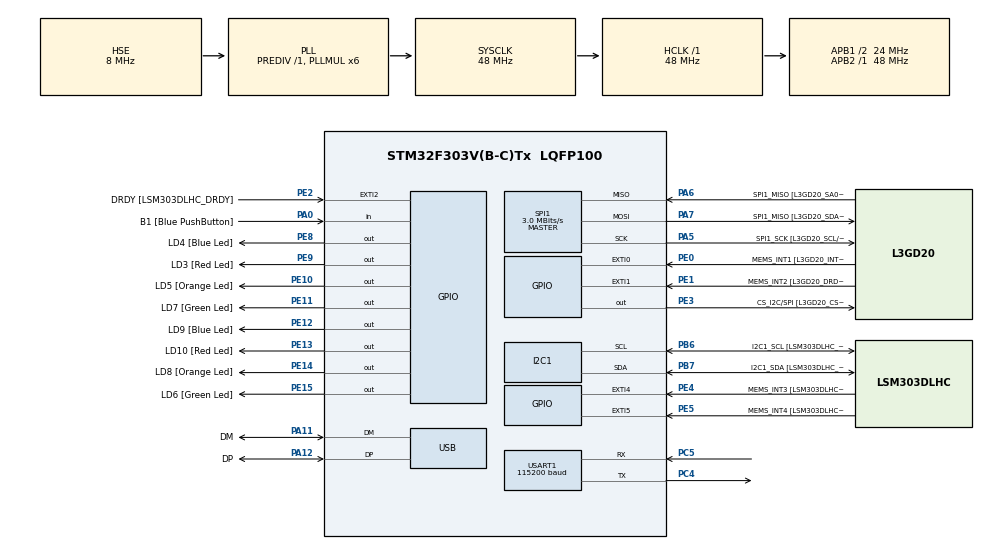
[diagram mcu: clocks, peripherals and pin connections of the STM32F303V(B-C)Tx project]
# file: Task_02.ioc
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I2C1.Timing=0x00201D2B
I2C1.Timing-I2C=0x2000090E
Mcu.Family=STM32F3
Mcu.Name=STM32F303V(B-C)Tx
Mcu.Package=LQFP100
NVIC.PriorityGroup=NVIC_PRIORITYGROUP_0
PA0.GPIO_Label=B1 [Blue PushButton]
PA0.Signal=GPIO_Input
PA11.GPIO_Label=DM
PA11.Mode=Device
PA11.Signal=USB_DM
PA12.GPIO_Label=DP
PA12.Mode=Device
PA12.Signal=USB_DP
PA13.GPIO_Label=SWDIO
PA13.Mode=Serial_Wire
PA13.Signal=SYS_JTMS-SWDIO
PA14.GPIO_Label=SWCLK
PA14.Mode=Serial_Wire
PA14.Signal=SYS_JTCK-SWCLK
PA5.GPIO_Label=SPI1_SCK [L3GD20_SCL/SPC]
PA5.Mode=Full_Duplex_Master
PA5.Signal=SPI1_SCK
PA6.GPIO_Label=SPI1_MISO [L3GD20_SA0/SDO]
PA6.Mode=Full_Duplex_Master
PA6.Signal=SPI1_MISO
PA7.GPIO_Label=SPI1_MISO [L3GD20_SDA/SDI/SDO]
PA7.Mode=Full_Duplex_Master
PA7.Signal=SPI1_MOSI
PB3.GPIO_Label=SWO
PB3.Signal=SYS_JTDO-TRACESWO
PB6.GPIO_Label=I2C1_SCL [LSM303DLHC_SCL]
PB6.GPIO_Pu=GPIO_PULLUP
PB6.Mode=I2C
PB6.Signal=I2C1_SCL
PB7.GPIO_Label=I2C1_SDA [LSM303DLHC_SDA]
PB7.GPIO_Pu=GPIO_PULLUP
PB7.Mode=I2C
PB7.Signal=I2C1_SDA
PC14-OSC32_IN.GPIO_Label=OSC32_IN
PC14-OSC32_IN.Signal=RCC_OSC32_IN
PC15-OSC32_OUT.GPIO_Label=OSC32_OUT
PC15-OSC32_OUT.Signal=RCC_OSC32_OUT
PC4.Mode=Asynchronous
PC4.Signal=USART1_TX
PC5.Mode=Asynchronous
PC5.Signal=USART1_RX
PE0.GPIO_Label=MEMS_INT1 [L3GD20_INT1]
PE0.GPIO_ModeDefaultEXTI=GPIO_MODE_EVT_RISING
PE0.Signal=GPXTI0
PE1.GPIO_Label=MEMS_INT2 [L3GD20_DRDY/INT2]
PE1.GPIO_ModeDefaultEXTI=GPIO_MODE_EVT_RISING
PE1.Signal=GPXTI1
PE10.GPIO_Label=LD5 [Orange Led]
PE10.Signal=GPIO_Output
PE11.GPIO_Label=LD7 [Green Led]
PE11.Signal=GPIO_Output
PE12.GPIO_Label=LD9 [Blue Led]
PE12.Signal=GPIO_Output
PE13.GPIO_Label=LD10 [Red Led]
PE13.Signal=GPIO_Output
PE14.GPIO_Label=LD8 [Orange Led]
PE14.Signal=GPIO_Output
PE15.GPIO_Label=LD6 [Green Led]
PE15.Signal=GPIO_Output
PE2.GPIO_Label=DRDY [LSM303DLHC_DRDY]
PE2.GPIO_ModeDefaultEXTI=GPIO_MODE_EVT_RISING
PE2.Signal=GPXTI2
PE3.GPIO_Label=CS_I2C/SPI [L3GD20_CS_I2C/SPI]
PE3.Signal=GPIO_Output
PE4.GPIO_Label=MEMS_INT3 [LSM303DLHC_INT1]
PE4.GPIO_ModeDefaultEXTI=GPIO_MODE_EVT_RISING
PE4.Signal=GPXTI4
PE5.GPIO_Label=MEMS_INT4 [LSM303DLHC_INT2]
PE5.GPIO_ModeDefaultEXTI=GPIO_MODE_EVT_RISING
PE5.Signal=GPXTI5
PE8.GPIO_Label=LD4 [Blue Led]
PE8.Signal=GPIO_Output
PE9.GPIO_Label=LD3 [Red Led]
PE9.Signal=GPIO_Output
PF0-OSC_IN.GPIO_Label=OSC_IN
PF0-OSC_IN.Mode=HSE-External-Clock-Source
PF0-OSC_IN.Signal=RCC_OSC_IN
PF1-OSC_OUT.GPIO_Label=OSC_OUT
PF1-OSC_OUT.Signal=RCC_OSC_OUT
ProjectManager.HeapSize=0x200
ProjectManager.StackSize=0x400
ProjectManager.TargetToolchain=CMake
RCC.AHBFreq_Value=48000000
RCC.APB1CLKDivider=RCC_HCLK_DIV2
RCC.APB1Freq_Value=24000000
RCC.APB1TimFreq_Value=48000000
RCC.APB2Freq_Value=48000000
RCC.APB2TimFreq_Value=48000000
RCC.CortexFreq_Value=48000000
RCC.HCLKFreq_Value=48000000
RCC.HSE_VALUE=8000000
RCC.HSI_VALUE=8000000
RCC.LSE_VALUE=32768
RCC.PLLMUL=RCC_PLL_MUL6
RCC.SYSCLKFreq_VALUE=48000000
RCC.SYSCLKSourceVirtual=RCC_SYSCLKSOURCE_PLLCLK
RCC.USBFreq_Value=48000000
SPI1.BaudRatePrescaler=SPI_BAUDRATEPRESCALER_16
SPI1.BaudRatePrescaler-Full_Duplex_Master=SPI_BAUDRATEPRESCALER_2
SPI1.CLKPhase=SPI_PHASE_2EDGE
SPI1.CLKPolarity=SPI_POLARITY_HIGH
SPI1.CalculateBaudRate=3.0 MBits/s
SPI1.CalculateBaudRate-Full_Duplex_Master=24.0 MBits/s
SPI1.DataSize=SPI_DATASIZE_8BIT
SPI1.Direction=SPI_DIRECTION_2LINES
SPI1.Mode=SPI_MODE_MASTER
SPI1.Mode-Full_Duplex_Master=SPI_MODE_MASTER
SPI1.VirtualType=VM_MASTER
USART1.BaudRate=115200
USART1.VirtualMode-Asynchronous=VM_ASYNC
board=STM32F3DISCOVERY

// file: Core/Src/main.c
/* USER CODE BEGIN Header */
/**
  ******************************************************************************
  * @file           : main.c
  * @brief          : Lab 9 - Accelerometer (I2C) & Gyroscope (SPI) Integration
  ******************************************************************************
  */
/* USER CODE END Header */

#include "main.h"
#include <stdio.h>

I2C_HandleTypeDef hi2c1;
SPI_HandleTypeDef hspi1;
UART_HandleTypeDef huart1;

/* USER CODE BEGIN PFP */
void SystemClock_Config(void);
static void MX_GPIO_Init(void);
static void MX_I2C1_Init(void);
static void MX_SPI1_Init(void);
static void MX_USART1_UART_Init(void);

// --- 1. LSM Data Structure (As requested by manual) ---
typedef struct {
    int16_t raw_acc_x, raw_acc_y, raw_acc_z;
    int16_t raw_gyro_x, raw_gyro_y, raw_gyro_z;

    float acc_x, acc_y, acc_z;       // in mg
    float gyro_x, gyro_y, gyro_z;    // in dps

    float acc_offset_x, acc_offset_y, acc_offset_z;
    float gyro_offset_x, gyro_offset_y, gyro_offset_z;

    float angle_x, angle_y;          // Calculated from Gyro
} LSM_Data_t;

LSM_Data_t lsm;

#define LOOP_TIME_SEC 0.1f // 100ms loop delay (dt)

void gyro_init(void);
void gyro_set_ctrl_reg4(void);
void reader(uint8_t reg_addr, uint8_t *rx_data);
int16_t read_16bit(uint8_t high_byte, uint8_t low_byte);

void Init_LSM(void);
void Offset_LSM(void);
void Read_LSM(void);
void Print_LSM(void);
/* USER CODE END PFP */

/* USER CODE BEGIN 0 */

void reader(uint8_t reg_addr, uint8_t *rx_data) {
    uint8_t tx_buffer[2] = {reg_addr, 0x00};
    uint8_t rx_buffer[2] = {0x00, 0x00};

    HAL_GPIO_WritePin(GPIOE, GPIO_PIN_3, GPIO_PIN_RESET);
    HAL_SPI_TransmitReceive(&hspi1, tx_buffer, rx_buffer, 2, HAL_MAX_DELAY);
    HAL_GPIO_WritePin(GPIOE, GPIO_PIN_3, GPIO_PIN_SET);

    *rx_data = rx_buffer[1];
}

#define CTRL_REG1 0x20
#define CTRL_REG1_VAL 0b00001111 // PD = 1 (Power on), Xen/Yen/Zen enabled
void gyro_init(void) {
    uint8_t tx[2] = {CTRL_REG1, CTRL_REG1_VAL};
    HAL_GPIO_WritePin(GPIOE, GPIO_PIN_3, GPIO_PIN_RESET);
    HAL_SPI_Transmit(&hspi1, tx, 2, HAL_MAX_DELAY);
    HAL_GPIO_WritePin(GPIOE, GPIO_PIN_3, GPIO_PIN_SET);
}

#define CTRL_REG4 0x23
#define CTRL_REG4_VAL 0b00000000 // FS [1:0] = 00 => +/- 250 dps
void gyro_set_ctrl_reg4(void) {
    uint8_t tx[2] = {CTRL_REG4, CTRL_REG4_VAL};
    HAL_GPIO_WritePin(GPIOE, GPIO_PIN_3, GPIO_PIN_RESET);
    HAL_SPI_Transmit(&hspi1, tx, 2, HAL_MAX_DELAY);
    HAL_GPIO_WritePin(GPIOE, GPIO_PIN_3, GPIO_PIN_SET);
}

int16_t read_16bit(uint8_t high_byte, uint8_t low_byte) {
    return (int16_t)((high_byte << 8) | low_byte);
}

/* ========================================================================= */
/* ACCELEROMETER (I2C) & LAB 9 REQUIRED FUNCTIONS                            */
/* ========================================================================= */

void Init_LSM(void) {
    uint8_t ctrl_reg1 = 0x67; // 100Hz, Normal mode
    uint8_t ctrl_reg4 = 0x00; // Normal Mode

    HAL_I2C_Mem_Write(&hi2c1, 0x32, 0x20, I2C_MEMADD_SIZE_8BIT, &ctrl_reg1, 1, HAL_MAX_DELAY);
    HAL_I2C_Mem_Write(&hi2c1, 0x32, 0x23, I2C_MEMADD_SIZE_8BIT, &ctrl_reg4, 1, HAL_MAX_DELAY);
}

void Offset_LSM(void) {
    float sum_acc_x = 0, sum_acc_y = 0;
    float sum_gyro_x = 0, sum_gyro_y = 0, sum_gyro_z = 0;
    int num_samples = 20;

    uint8_t acc_data[6];
    uint8_t g_xH, g_xL, g_yH, g_yL, g_zH, g_zL;

    for (int i = 0; i < num_samples; i++) {
        // --- Read Accel ---
        HAL_I2C_Mem_Read(&hi2c1, 0x32, 0x28 | 0x80, I2C_MEMADD_SIZE_8BIT, acc_data, 6, HAL_MAX_DELAY);
        int16_t raw_a_x = (int16_t)((acc_data[1] << 8) | acc_data[0]) >> 6;
        int16_t raw_a_y = (int16_t)((acc_data[3] << 8) | acc_data[2]) >> 6;
        sum_acc_x += (raw_a_x * 3.9f);
        sum_acc_y += (raw_a_y * 3.9f);

        // --- Read Gyro ---
        reader(0x80 | 0x29, &g_xH); reader(0x80 | 0x28, &g_xL);
        reader(0x80 | 0x2B, &g_yH); reader(0x80 | 0x2A, &g_yL);
        reader(0x80 | 0x2D, &g_zH); reader(0x80 | 0x2C, &g_zL);
        sum_gyro_x += (read_16bit(g_xH, g_xL) * 0.00875f);
        sum_gyro_y += (read_16bit(g_yH, g_yL) * 0.00875f);
        sum_gyro_z += (read_16bit(g_zH, g_zL) * 0.00875f);

        HAL_Delay(20);
    }

    // Average Offsets
    lsm.acc_offset_x = sum_acc_x / num_samples;
    lsm.acc_offset_y = sum_acc_y / num_samples;
    lsm.acc_offset_z = 0; // Keep Earth's gravity intact

    lsm.gyro_offset_x = sum_gyro_x / num_samples;
    lsm.gyro_offset_y = sum_gyro_y / num_samples;
    lsm.gyro_offset_z = sum_gyro_z / num_samples;
}

void Read_LSM(void) {
    uint8_t acc_data[6];
    uint8_t g_xH, g_xL, g_yH, g_yL, g_zH, g_zL;

    // --- 1. Read & Scale Accelerometer ---
    HAL_I2C_Mem_Read(&hi2c1, 0x32, 0x28 | 0x80, I2C_MEMADD_SIZE_8BIT, acc_data, 6, HAL_MAX_DELAY);
    lsm.raw_acc_x = (int16_t)((acc_data[1] << 8) | acc_data[0]) >> 6;
    lsm.raw_acc_y = (int16_t)((acc_data[3] << 8) | acc_data[2]) >> 6;
    lsm.raw_acc_z = (int16_t)((acc_data[5] << 8) | acc_data[4]) >> 6;

    lsm.acc_x = (lsm.raw_acc_x * 3.9f) - lsm.acc_offset_x;
    lsm.acc_y = (lsm.raw_acc_y * 3.9f) - lsm.acc_offset_y;
    lsm.acc_z = (lsm.raw_acc_z * 3.9f) - lsm.acc_offset_z;

    // --- 2. Read & Scale Gyroscope ---
    reader(0x80 | 0x29, &g_xH); reader(0x80 | 0x28, &g_xL);
    reader(0x80 | 0x2B, &g_yH); reader(0x80 | 0x2A, &g_yL);
    reader(0x80 | 0x2D, &g_zH); reader(0x80 | 0x2C, &g_zL);

    lsm.raw_gyro_x = read_16bit(g_xH, g_xL);
    lsm.raw_gyro_y = read_16bit(g_yH, g_yL);
    lsm.raw_gyro_z = read_16bit(g_zH, g_zL);

    lsm.gyro_x = (lsm.raw_gyro_x * 0.00875f) - lsm.gyro_offset_x;
    lsm.gyro_y = (lsm.raw_gyro_y * 0.00875f) - lsm.gyro_offset_y;
    lsm.gyro_z = (lsm.raw_gyro_z * 0.00875f) - lsm.gyro_offset_z;

    // --- 3. Integrate Gyro for Angle ---
    // Angle = Previous_Angle + (Velocity * dt)
    lsm.angle_x += (lsm.gyro_x * LOOP_TIME_SEC);
    lsm.angle_y += (lsm.gyro_y * LOOP_TIME_SEC);
}

void Print_LSM(void) {
    char msg[150]; // Increased buffer size to hold the longer string

    // 1. Accelerometer (mg)
    int ax = (int)lsm.acc_x;
    int ay = (int)lsm.acc_y;
    int az = (int)lsm.acc_z;

    // 2. Gyroscope (dps)
    int gx = (int)lsm.gyro_x;
    int gy = (int)lsm.gyro_y;
    int gz = (int)lsm.gyro_z;

    // 3. Angles (degrees)
    int ang_x = (int)lsm.angle_x;
    int ang_y = (int)lsm.angle_y;

    // Format all values into a single string
    int len = sprintf(msg, "Acc:%d,%d,%d | Gyr:%d,%d,%d | Ang:%d,%d\r\n",
                      ax, ay, az, gx, gy, gz, ang_x, ang_y);

    HAL_UART_Transmit(&huart1, (uint8_t*)msg, len, HAL_MAX_DELAY);
}
/* USER CODE END 0 */

int main(void)
{
  HAL_Init();
  SystemClock_Config();
  MX_GPIO_Init();
  MX_I2C1_Init();
  MX_SPI1_Init();
  MX_USART1_UART_Init();

  /* USER CODE BEGIN 2 */

  // 1. Initialize BOTH sensors
  Init_LSM();           // I2C Accel
  gyro_init();          // SPI Gyro
  gyro_set_ctrl_reg4(); // SPI Gyro Range
  HAL_Delay(100);

  // 2. Calibrate BOTH sensors (Keep the board completely flat and still!)
  char calib_msg[] = "Calibrating... DO NOT MOVE!\r\n";
  HAL_UART_Transmit(&huart1, (uint8_t*)calib_msg, sizeof(calib_msg)-1, HAL_MAX_DELAY);

  lsm.angle_x = 0; // Reset angle
  lsm.angle_y = 0;
  Offset_LSM();

  char start_msg[] = "Calibration Done! Starting Output:\r\n";
  HAL_UART_Transmit(&huart1, (uint8_t*)start_msg, sizeof(start_msg)-1, HAL_MAX_DELAY);

  /* USER CODE END 2 */

  /* Infinite loop */
  while (1)
  {
    /* USER CODE BEGIN 3 */

    Read_LSM();
    Print_LSM();

    // Must match LOOP_TIME_SEC (0.1s = 100ms) for the math to be accurate!
    HAL_Delay(1000);

    /* USER CODE END 3 */
  }
}

/* ------------------------------------------------------------------------- */
/* System Clock and Peripheral Initialization Functions Below                */
/* (Keep these identical to your previous code)                              */
/* ------------------------------------------------------------------------- */
void SystemClock_Config(void)
{
  RCC_OscInitTypeDef RCC_OscInitStruct = {0};
  RCC_ClkInitTypeDef RCC_ClkInitStruct = {0};
  RCC_PeriphCLKInitTypeDef PeriphClkInit = {0};

  RCC_OscInitStruct.OscillatorType = RCC_OSCILLATORTYPE_HSI|RCC_OSCILLATORTYPE_HSE;
  RCC_OscInitStruct.HSEState = RCC_HSE_BYPASS;
  RCC_OscInitStruct.HSEPredivValue = RCC_HSE_PREDIV_DIV1;
  RCC_OscInitStruct.HSIState = RCC_HSI_ON;
  RCC_OscInitStruct.PLL.PLLState = RCC_PLL_ON;
  RCC_OscInitStruct.PLL.PLLSource = RCC_PLLSOURCE_HSE;
  RCC_OscInitStruct.PLL.PLLMUL = RCC_PLL_MUL6;
  if (HAL_RCC_OscConfig(&RCC_OscInitStruct) != HAL_OK) { Error_Handler(); }

  RCC_ClkInitStruct.ClockType = RCC_CLOCKTYPE_HCLK|RCC_CLOCKTYPE_SYSCLK|RCC_CLOCKTYPE_PCLK1|RCC_CLOCKTYPE_PCLK2;
  RCC_ClkInitStruct.SYSCLKSource = RCC_SYSCLKSOURCE_PLLCLK;
  RCC_ClkInitStruct.AHBCLKDivider = RCC_SYSCLK_DIV1;
  RCC_ClkInitStruct.APB1CLKDivider = RCC_HCLK_DIV2;
  RCC_ClkInitStruct.APB2CLKDivider = RCC_HCLK_DIV1;
  if (HAL_RCC_ClockConfig(&RCC_ClkInitStruct, FLASH_LATENCY_1) != HAL_OK) { Error_Handler(); }

  PeriphClkInit.PeriphClockSelection = RCC_PERIPHCLK_USART1|RCC_PERIPHCLK_I2C1;
  PeriphClkInit.Usart1ClockSelection = RCC_USART1CLKSOURCE_PCLK2;
  PeriphClkInit.I2c1ClockSelection = RCC_I2C1CLKSOURCE_HSI;
  if (HAL_RCCEx_PeriphCLKConfig(&PeriphClkInit) != HAL_OK) { Error_Handler(); }
}

static void MX_I2C1_Init(void) {
  hi2c1.Instance = I2C1;
  hi2c1.Init.Timing = 0x00201D2B;
  hi2c1.Init.OwnAddress1 = 0;
  hi2c1.Init.AddressingMode = I2C_ADDRESSINGMODE_7BIT;
  hi2c1.Init.DualAddressMode = I2C_DUALADDRESS_DISABLE;
  hi2c1.Init.OwnAddress2 = 0;
  hi2c1.Init.OwnAddress2Masks = I2C_OA2_NOMASK;
  hi2c1.Init.GeneralCallMode = I2C_GENERALCALL_DISABLE;
  hi2c1.Init.NoStretchMode = I2C_NOSTRETCH_DISABLE;
  if (HAL_I2C_Init(&hi2c1) != HAL_OK) { Error_Handler(); }
}

static void MX_SPI1_Init(void) {
  hspi1.Instance = SPI1;
  hspi1.Init.Mode = SPI_MODE_MASTER;
  hspi1.Init.Direction = SPI_DIRECTION_2LINES;

  // FIX: Must be 8-BIT for the Gyroscope!
  hspi1.Init.DataSize = SPI_DATASIZE_8BIT;

  hspi1.Init.CLKPolarity = SPI_POLARITY_LOW;
  hspi1.Init.CLKPhase = SPI_PHASE_1EDGE;
  hspi1.Init.NSS = SPI_NSS_SOFT;
  hspi1.Init.BaudRatePrescaler = SPI_BAUDRATEPRESCALER_16; // Safer speed
  hspi1.Init.FirstBit = SPI_FIRSTBIT_MSB;
  hspi1.Init.TIMode = SPI_TIMODE_DISABLE;
  hspi1.Init.CRCCalculation = SPI_CRCCALCULATION_DISABLE;
  hspi1.Init.CRCPolynomial = 7;
  hspi1.Init.CRCLength = SPI_CRC_LENGTH_DATASIZE;
  hspi1.Init.NSSPMode = SPI_NSS_PULSE_ENABLE;
  if (HAL_SPI_Init(&hspi1) != HAL_OK) { Error_Handler(); }
}

static void MX_USART1_UART_Init(void) {
  huart1.Instance = USART1;
  huart1.Init.BaudRate = 115200;
  huart1.Init.WordLength = UART_WORDLENGTH_8B;
  huart1.Init.StopBits = UART_STOPBITS_1;
  huart1.Init.Parity = UART_PARITY_NONE;
  huart1.Init.Mode = UART_MODE_TX_RX;
  huart1.Init.HwFlowCtl = UART_HWCONTROL_NONE;
  huart1.Init.OverSampling = UART_OVERSAMPLING_16;
  huart1.Init.OneBitSampling = UART_ONE_BIT_SAMPLE_DISABLE;
  huart1.AdvancedInit.AdvFeatureInit = UART_ADVFEATURE_NO_INIT;
  if (HAL_UART_Init(&huart1) != HAL_OK) { Error_Handler(); }
}

static void MX_GPIO_Init(void) {
  GPIO_InitTypeDef GPIO_InitStruct = {0};
  __HAL_RCC_GPIOE_CLK_ENABLE();
  __HAL_RCC_GPIOC_CLK_ENABLE();
  __HAL_RCC_GPIOA_CLK_ENABLE();
  __HAL_RCC_GPIOB_CLK_ENABLE();

  HAL_GPIO_WritePin(GPIOE, CS_I2C_SPI_Pin|LD4_Pin|LD3_Pin|LD5_Pin|LD7_Pin|LD9_Pin|LD10_Pin|LD8_Pin|LD6_Pin, GPIO_PIN_RESET);

  GPIO_InitStruct.Pin = DRDY_Pin|MEMS_INT3_Pin|MEMS_INT4_Pin|MEMS_INT1_Pin|MEMS_INT2_Pin;
  GPIO_InitStruct.Mode = GPIO_MODE_EVT_RISING;
  GPIO_InitStruct.Pull = GPIO_NOPULL;
  HAL_GPIO_Init(GPIOE, &GPIO_InitStruct);

  GPIO_InitStruct.Pin = CS_I2C_SPI_Pin|LD4_Pin|LD3_Pin|LD5_Pin|LD7_Pin|LD9_Pin|LD10_Pin|LD8_Pin|LD6_Pin;
  GPIO_InitStruct.Mode = GPIO_MODE_OUTPUT_PP;
  GPIO_InitStruct.Pull = GPIO_NOPULL;
  GPIO_InitStruct.Speed = GPIO_SPEED_FREQ_LOW;
  HAL_GPIO_Init(GPIOE, &GPIO_InitStruct);
}

void Error_Handler(void) {
  __disable_irq();
  while (1) {}
}
